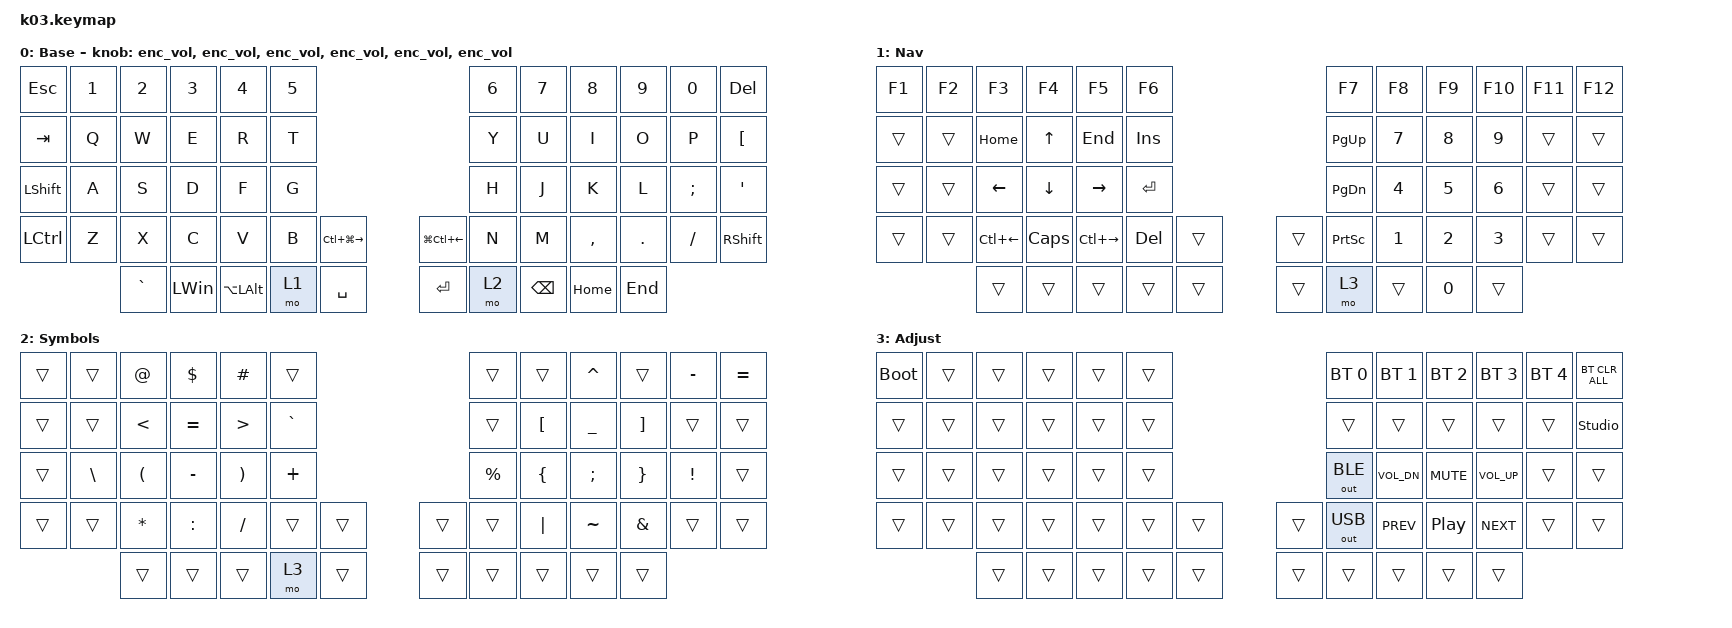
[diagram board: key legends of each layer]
#include "keys_ru.h"
#include <behaviors.dtsi>
#include <dt-bindings/zmk/bt.h>
#include <dt-bindings/zmk/keys.h>
#include <dt-bindings/zmk/outputs.h>

/ {
    behaviors {
        enc_vol: enc_vol {
            compatible = "zmk,behavior-sensor-rotate";
            label = "ENC_VOL";
            #sensor-binding-cells = <0>;
            bindings = <&kp C_VOL_UP>, <&kp C_VOL_DN>;
        };
    };

    macros {
        left_workspace: left_workspace {
            compatible = "zmk,behavior-macro";
            #binding-cells = <0>;
            bindings = <&kp LEFT &kp LC(LEFT_WIN)>;
            label = "LEFT_WORKSPACE";
        };
    };

    keymap {
        compatible = "zmk,keymap";

        base {
            bindings = <
&kp ESC           &kp N1  &kp N2     &kp N3        &kp N4            &kp N5                                                     &kp N6  &kp N7         &kp N8     &kp N9   &kp N0    &kp DELETE
&kp TAB           &kp Q   &kp W      &kp E         &kp R             &kp T                                                      &kp Y   &kp U          &kp I      &kp O    &kp P     &kp LEFT_BRACKET
&kp LEFT_SHIFT    &kp A   &kp S      &kp D         &kp F             &kp G                                                      &kp H   &kp J          &kp K      &kp L    &kp SEMI  &kp SQT
&kp LEFT_CONTROL  &kp Z   &kp X      &kp C         &kp V             &kp B   &kp LC(LG(RIGHT_ARROW))    &kp LG(LC(LEFT_ARROW))  &kp N   &kp M          &kp COMMA  &kp DOT  &kp FSLH  &kp RIGHT_SHIFT
                          &kp GRAVE  &kp LEFT_WIN  &kp LA(LEFT_ALT)  &mo 1   &kp SPACE                  &kp ENTER               &mo 2   &kp BACKSPACE  &kp HOME   &kp END
            >;

            display-name = "Base";
            sensor-bindings =
                <&enc_vol>,
                <&enc_vol>,
                <&enc_vol>,
                <&enc_vol>,
                <&enc_vol>,
                <&enc_vol>;
        };

        nav {
            bindings = <
&kp F1  &kp F2  &kp F3        &kp F4    &kp F5         &kp F6                     &kp F7           &kp F8  &kp F9  &kp F10  &kp F11  &kp F12
&trans  &trans  &kp HOME      &kp UP    &kp END        &kp INS                    &kp PG_UP        &kp N7  &kp N8  &kp N9   &trans   &trans
&trans  &trans  &kp LEFT      &kp DOWN  &kp RIGHT      &kp RET                    &kp PG_DN        &kp N4  &kp N5  &kp N6   &trans   &trans
&trans  &trans  &kp LC(LEFT)  &kp CAPS  &kp LC(RIGHT)  &kp DEL  &trans    &trans  &kp PRINTSCREEN  &kp N1  &kp N2  &kp N3   &trans   &trans
                &trans        &trans    &trans         &trans   &trans    &trans  &mo 3            &trans  &kp N0  &trans
            >;

            display-name = "Nav";
        };

        sym {
            bindings = <
&trans  &trans    &kp AT    &kp DLLR   &kp HASH  &trans                       &trans     &trans    &kp CARET  &trans    &kp MINUS  &kp EQUAL
&trans  &trans    &kp LT    &kp EQUAL  &kp GT    &kp GRAVE                    &trans     &kp LBKT  &kp UNDER  &kp RBKT  &trans     &trans
&trans  &kp BSLH  &kp LPAR  &kp MINUS  &kp RPAR  &kp PLUS                     &kp PRCNT  &kp LBRC  &kp SEMI   &kp RBRC  &kp EXCL   &trans
&trans  &trans    &kp STAR  &kp COLON  &kp FSLH  &trans     &trans    &trans  &trans     &kp PIPE  &kp TILDE  &kp AMPS  &trans     &trans
                  &trans    &trans     &trans    &mo 3      &trans    &trans  &trans     &trans    &trans     &trans
            >;

            display-name = "Symbols";
        };

        adj {
            bindings = <
&bootloader  &trans  &trans  &trans  &trans  &trans                    &bt BT_SEL 0  &bt BT_SEL 1  &bt BT_SEL 2      &bt BT_SEL 3  &bt BT_SEL 4  &bt BT_CLR_ALL
&trans       &trans  &trans  &trans  &trans  &trans                    &trans        &trans        &trans            &trans        &trans        &studio_unlock
&trans       &trans  &trans  &trans  &trans  &trans                    &out OUT_BLE  &kp C_VOL_DN  &kp C_MUTE        &kp C_VOL_UP  &trans        &trans
&trans       &trans  &trans  &trans  &trans  &trans  &trans    &trans  &out OUT_USB  &kp C_PREV    &kp C_PLAY_PAUSE  &kp C_NEXT    &trans        &trans
                     &trans  &trans  &trans  &trans  &trans    &trans  &trans        &trans        &trans            &trans
            >;

            display-name = "Adjust";
        };
    };
};
